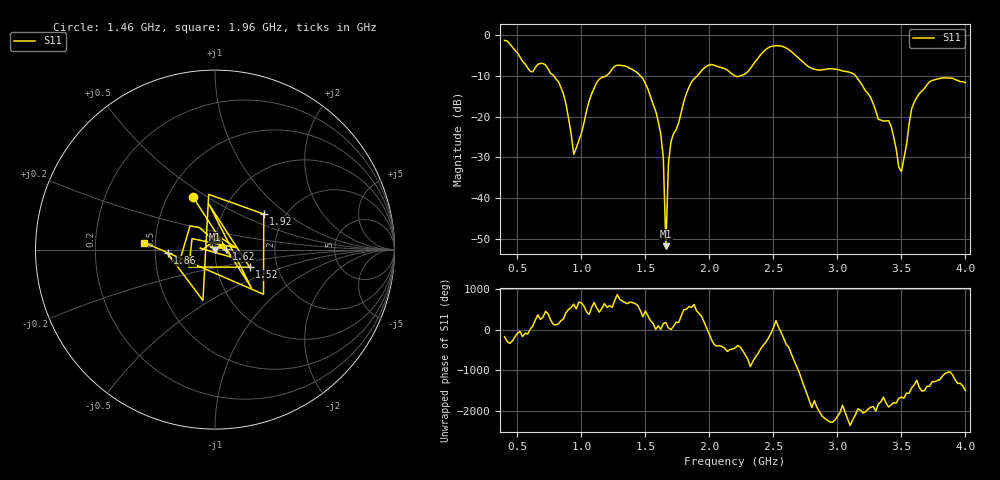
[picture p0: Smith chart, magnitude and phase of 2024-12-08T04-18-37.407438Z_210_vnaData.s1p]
!Created with skrf (http://scikit-rf.org).
# Hz S RI R 50.0
!freq ReS11 ImS11
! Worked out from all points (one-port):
!   181 points, 400 MHz to 4 GHz, reference 50 ohm
!   lowest |S11| = -51.8 dB at 1.66 GHz (marker M1), VSWR 1.01, Z = 49.7 + j0.0333 ohm
!   |S11| at or under -10 dB: 783.9 MHz to 1.193 GHz (409.5 MHz wide, 41.4 % of centre); 1.461 GHz to 1.905 GHz (444.2 MHz wide, 26.4 % of centre); 3.142 GHz to end of sweep (the widest 3 of 4)
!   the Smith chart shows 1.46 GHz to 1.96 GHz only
!   S11 on the Smith chart (normalised r, x): 1.46 GHz: 0.67, +0.44; 1.52 GHz: 1.44, -0.30; 1.62 GHz: 1.13, +0.01; 1.86 GHz: 0.58, -0.03; 1.92 GHz: 1.56, +0.70; 1.96 GHz: 0.43, +0.04
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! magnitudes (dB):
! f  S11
! 400 MHz  -1.3
! 600 MHz  -8.9
! 720 MHz  -7.3
! 860 MHz  -14.5
! 940 MHz  -29.3
! 1.12 GHz  -11.6
! 1.3 GHz  -7.4
! 1.46 GHz  -10.0
! 1.52 GHz  -13.3
! 1.62 GHz  -24.3
! 1.64 GHz  -30.2
! 1.66 GHz  -51.8
! 1.68 GHz  -31.6
! 1.7 GHz  -26.2
! 1.76 GHz  -21.5
! 1.86 GHz  -11.5
! 1.92 GHz  -9.5
! 1.96 GHz  -8.0
! 2.2 GHz  -10.0
! 2.48 GHz  -2.8
! 2.66 GHz  -4.6
! 3.1 GHz  -9.2
! 3.32 GHz  -20.7
! 3.4 GHz  -21.0
! 3.5 GHz  -33.5
! 3.56 GHz  -21.9
! 3.72 GHz  -11.4
! 4 GHz  -11.7
